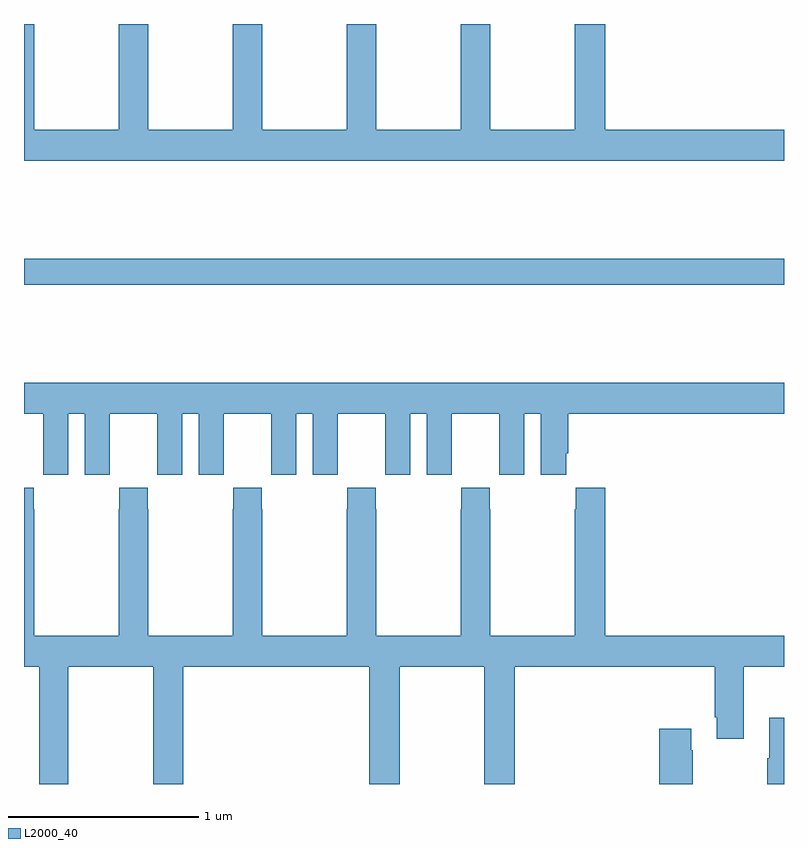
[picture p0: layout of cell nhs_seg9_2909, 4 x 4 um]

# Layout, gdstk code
import gdstk
lib = gdstk.Library(unit=1e-6, precision=1e-09)
def R(c, l, rs):  # rectangles x0, y0, x1, y1
    for r in rs: c.add(gdstk.rectangle(r[:2], r[2:], *l))
def P(c, l, *ps):  # polygons
    for p in ps: c.add(gdstk.Polygon(p, *l))
L2000_40 = (2000, 40)

nhs_seg9_2909 = lib.new_cell('nhs_seg9_2909')
R(nhs_seg9_2909, L2000_40, [(279,1169.128,283,1169.264)])
P(nhs_seg9_2909, L2000_40, [(283,1169.944),(282.059,1169.944),(282.059,1170.5),(281.899,1170.5),(281.899,1169.944),(281.454,1169.944),(281.454,1170.5),(281.299,1170.5),(281.299,1169.944),(280.854,1169.944),(280.854,1170.5),(280.699,1170.5),(280.699,1169.944),(280.254,1169.944),(280.254,1170.5),(280.099,1170.5),(280.099,1169.944),(279.654,1169.944),(279.654,1170.5),(279.499,1170.5),(279.499,1169.944),(279.054,1169.944),(279.054,1170.5),(279,1170.5),(279,1169.78),(283,1169.78)],
  [(279.232,1168.448),(279.32,1168.448),(279.32,1168.128),(279.45,1168.128),(279.45,1168.24),(279.451,1168.24),(279.451,1168.448),(279.701,1168.448),(279.701,1168.24),(279.702,1168.24),(279.702,1168.128),(279.832,1168.128),(279.832,1168.448),(279.92,1168.448),(279.92,1168.128),(280.05,1168.128),(280.05,1168.24),(280.051,1168.24),(280.051,1168.448),(280.301,1168.448),(280.301,1168.24),(280.302,1168.24),(280.302,1168.128),(280.432,1168.128),(280.432,1168.448),(280.52,1168.448),(280.52,1168.128),(280.65,1168.128),(280.65,1168.24),(280.651,1168.24),(280.651,1168.448),(280.901,1168.448),(280.901,1168.24),(280.902,1168.24),(280.902,1168.128),(281.032,1168.128),(281.032,1168.448),(281.12,1168.448),(281.12,1168.128),(281.25,1168.128),(281.25,1168.24),(281.251,1168.24),(281.251,1168.448),(281.501,1168.448),(281.501,1168.24),(281.502,1168.24),(281.502,1168.128),(281.632,1168.128),(281.632,1168.448),(281.72,1168.448),(281.72,1168.128),(281.854,1168.128),(281.854,1168.24),(281.864,1168.24),(281.864,1168.448),(283,1168.448),(283,1168.612),(279,1168.612),(279,1168.448),(279.101,1168.448),(279.101,1168.24),(279.102,1168.24),(279.102,1168.128),(279.232,1168.128)],
  [(280.817,1166.5),(280.977,1166.5),(280.977,1167.116),(281.422,1167.116),(281.422,1166.5),(281.582,1166.5),(281.582,1167.116),(282.635,1167.116),(282.635,1166.851),(282.647,1166.851),(282.647,1166.739),(282.787,1166.739),(282.787,1167.116),(283,1167.116),(283,1167.28),(282.059,1167.28),(282.059,1168.06),(281.905,1168.06),(281.905,1167.947),(281.899,1167.947),(281.899,1167.28),(281.454,1167.28),(281.454,1167.947),(281.451,1167.947),(281.451,1168.06),(281.301,1168.06),(281.301,1167.947),(281.299,1167.947),(281.299,1167.28),(280.854,1167.28),(280.854,1167.947),(280.851,1167.947),(280.851,1168.06),(280.701,1168.06),(280.701,1167.947),(280.699,1167.947),(280.699,1167.28),(280.254,1167.28),(280.254,1167.947),(280.251,1167.947),(280.251,1168.06),(280.101,1168.06),(280.101,1167.947),(280.099,1167.947),(280.099,1167.28),(279.654,1167.28),(279.654,1167.947),(279.651,1167.947),(279.651,1168.06),(279.501,1168.06),(279.501,1167.947),(279.499,1167.947),(279.499,1167.28),(279.054,1167.28),(279.054,1167.947),(279.051,1167.947),(279.051,1168.06),(279,1168.06),(279,1167.116),(279.079,1167.116),(279.079,1166.5),(279.234,1166.5),(279.234,1167.116),(279.679,1167.116),(279.679,1166.5),(279.839,1166.5),(279.839,1167.116),(280.817,1167.116)],
  [(283,1166.848),(282.923,1166.848),(282.923,1166.635),(282.912,1166.635),(282.912,1166.5),(283,1166.5)],
  [(282.519,1166.678),(282.511,1166.678),(282.511,1166.791),(282.344,1166.791),(282.344,1166.5),(282.519,1166.5)])

lib.write_gds('nhs_seg9_2909.gds')
